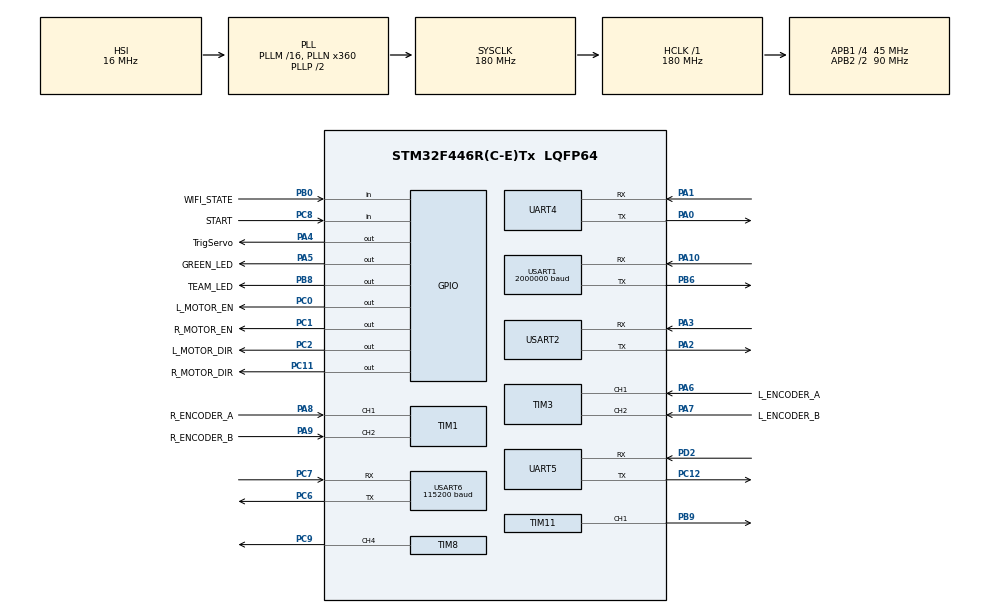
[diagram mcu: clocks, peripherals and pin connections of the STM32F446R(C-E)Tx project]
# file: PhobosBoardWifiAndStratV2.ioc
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Dma.Request0=UART4_RX
Dma.UART4_RX.0.Direction=DMA_PERIPH_TO_MEMORY
Dma.UART4_RX.0.FIFOMode=DMA_FIFOMODE_DISABLE
Dma.UART4_RX.0.Instance=DMA1_Stream2
Dma.UART4_RX.0.MemDataAlignment=DMA_MDATAALIGN_BYTE
Dma.UART4_RX.0.MemInc=DMA_MINC_ENABLE
Dma.UART4_RX.0.Mode=DMA_NORMAL
Dma.UART4_RX.0.PeriphDataAlignment=DMA_PDATAALIGN_BYTE
Dma.UART4_RX.0.PeriphInc=DMA_PINC_DISABLE
Dma.UART4_RX.0.Priority=DMA_PRIORITY_LOW
Mcu.Family=STM32F4
Mcu.Name=STM32F446R(C-E)Tx
Mcu.Package=LQFP64
NVIC.DMA1_Stream2_IRQn=true\:0\:0\:false\:false\:true\:false\:true\:true
NVIC.PriorityGroup=NVIC_PRIORITYGROUP_4
NVIC.TIM1_BRK_TIM9_IRQn=true\:0\:0\:false\:false\:true\:true\:true\:true
NVIC.TIM2_IRQn=true\:0\:0\:false\:false\:true\:true\:true\:true
NVIC.TIM4_IRQn=true\:0\:0\:false\:false\:true\:true\:true\:true
NVIC.TIM5_IRQn=true\:0\:0\:false\:false\:true\:true\:true\:true
NVIC.TIM6_DAC_IRQn=true\:0\:0\:false\:false\:true\:true\:true\:true
NVIC.TIM7_IRQn=true\:2\:0\:true\:false\:true\:true\:true\:true
NVIC.UART4_IRQn=true\:0\:0\:false\:false\:true\:true\:true\:true
NVIC.UART5_IRQn=true\:0\:0\:false\:false\:true\:true\:true\:true
NVIC.USART1_IRQn=true\:0\:0\:false\:false\:true\:true\:true\:true
NVIC.USART6_IRQn=true\:0\:0\:false\:false\:true\:true\:true\:true
PA0-WKUP.Mode=Asynchronous
PA0-WKUP.Signal=UART4_TX
PA1.Mode=Asynchronous
PA1.Signal=UART4_RX
PA10.Mode=Asynchronous
PA10.Signal=USART1_RX
PA2.Mode=Asynchronous
PA2.Signal=USART2_TX
PA3.Mode=Asynchronous
PA3.Signal=USART2_RX
PA4.GPIO_Label=TrigServo
PA4.Signal=GPIO_Output
PA5.GPIO_Label=GREEN_LED
PA5.Signal=GPIO_Output
PA6.GPIO_Label=L_ENCODER_A
PA6.Signal=S_TIM3_CH1
PA7.GPIO_Label=L_ENCODER_B
PA7.Signal=S_TIM3_CH2
PA8.GPIO_Label=R_ENCODER_A
PA8.Signal=S_TIM1_CH1
PA9.GPIO_Label=R_ENCODER_B
PA9.Signal=S_TIM1_CH2
PB0.GPIO_Label=WIFI_STATE
PB0.Signal=GPIO_Input
PB6.Mode=Asynchronous
PB6.Signal=USART1_TX
PB8.GPIO_Label=TEAM_LED
PB8.Signal=GPIO_Output
PB9.Signal=S_TIM11_CH1
PC0.GPIO_Label=L_MOTOR_EN
PC0.Signal=GPIO_Output
PC1.GPIO_Label=R_MOTOR_EN
PC1.Signal=GPIO_Output
PC11.GPIO_Label=R_MOTOR_DIR
PC11.Signal=GPIO_Output
PC12.Mode=Asynchronous
PC12.Signal=UART5_TX
PC2.GPIO_Label=L_MOTOR_DIR
PC2.Signal=GPIO_Output
PC6.Mode=Asynchronous
PC6.Signal=USART6_TX
PC7.Mode=Asynchronous
PC7.Signal=USART6_RX
PC8.GPIO_Label=START
PC8.GPIO_PuPd=GPIO_PULLDOWN
PC8.Signal=GPIO_Input
PC9.Signal=S_TIM8_CH4
PD2.Mode=Asynchronous
PD2.Signal=UART5_RX
ProjectManager.HeapSize=0x200
ProjectManager.StackSize=0x400
ProjectManager.TargetToolchain=STM32CubeIDE
RCC.48MHZClocksFreq_Value=84000000
RCC.AHBFreq_Value=180000000
RCC.APB1CLKDivider=RCC_HCLK_DIV4
RCC.APB1Freq_Value=45000000
RCC.APB1TimFreq_Value=90000000
RCC.APB2CLKDivider=RCC_HCLK_DIV2
RCC.APB2Freq_Value=90000000
RCC.APB2TimFreq_Value=180000000
RCC.CortexFreq_Value=180000000
RCC.FLatency-AdvancedSettings=FLASH_LATENCY_5
RCC.HCLKFreq_Value=180000000
RCC.HSE_VALUE=8000000
RCC.HSI_VALUE=16000000
RCC.PLLN=360
RCC.SYSCLKFreq_VALUE=180000000
RCC.SYSCLKSource=RCC_SYSCLKSOURCE_PLLCLK
RCC.USBFreq_Value=180000000
RCC.VCOOutputFreq_Value=360000000
SH.S_TIM11_CH1.0=TIM11_CH1,PWM Generation1 CH1
SH.S_TIM1_CH1.0=TIM1_CH1,Encoder_Interface
SH.S_TIM1_CH2.0=TIM1_CH2,Encoder_Interface
SH.S_TIM3_CH1.0=TIM3_CH1,Encoder_Interface
SH.S_TIM3_CH2.0=TIM3_CH2,Encoder_Interface
SH.S_TIM8_CH4.0=TIM8_CH4,PWM Generation4 CH4
TIM1.CounterMode=TIM_COUNTERMODE_UP
TIM1.EncoderMode=TIM_ENCODERMODE_TI12
TIM1.IC1Filter=10
TIM11.Channel=TIM_CHANNEL_1
TIM11.Period=1000
TIM11.Prescaler=179
TIM2.Period=999
TIM2.Prescaler=2686
TIM3.AutoReloadPreload=TIM_AUTORELOAD_PRELOAD_ENABLE
TIM3.CounterMode=TIM_COUNTERMODE_UP
TIM3.EncoderMode=TIM_ENCODERMODE_TI12
TIM4.Period=10000-1
TIM4.Prescaler=9000-1
TIM5.Period=90000
TIM5.Prescaler=9
TIM6.Period=99
TIM6.Prescaler=8999
TIM7.AutoReloadPreload=TIM_AUTORELOAD_PRELOAD_DISABLE
TIM7.Period=9999
TIM7.Prescaler=8999
TIM8.AutoReloadPreload=TIM_AUTORELOAD_PRELOAD_DISABLE
TIM8.Channel-PWM\ Generation4\ CH4=TIM_CHANNEL_4
TIM8.Period=1000
TIM8.Prescaler=179
TIM8.Pulse-PWM\ Generation4\ CH4=500
UART4.VirtualMode=Asynchronous
UART5.VirtualMode=Asynchronous
USART1.BaudRate=2000000
USART1.VirtualMode=VM_ASYNC
USART2.VirtualMode=VM_ASYNC
USART6.BaudRate=115200
USART6.Parity=PARITY_NONE
USART6.VirtualMode=VM_ASYNC
VP_TIM11_VS_ClockSourceINT.Mode=Enable_Timer
VP_TIM2_VS_ClockSourceINT.Mode=Internal
VP_TIM4_VS_ClockSourceINT.Mode=Internal
VP_TIM5_VS_ClockSourceINT.Mode=Internal
VP_TIM6_VS_ClockSourceINT.Mode=Enable_Timer
VP_TIM7_VS_ClockSourceINT.Mode=Enable_Timer
VP_TIM8_VS_ClockSourceINT.Mode=Internal
board=NUCLEO-F446RE

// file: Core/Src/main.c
/* USER CODE BEGIN Header */
/**
  ******************************************************************************
  * @file           : main.c
  * @brief          : Main program body
  ******************************************************************************
  * @attention
  *
  * <h2><center>&copy; Copyright (c) 2021 STMicroelectronics.
  * All rights reserved.</center></h2>
  *
  * This software component is licensed by ST under BSD 3-Clause license,
  * the "License"; You may not use this file except in compliance with the
  * License. You may obtain a copy of the License at:
  *                        opensource.org/licenses/BSD-3-Clause
  *
  ******************************************************************************
  */
/* USER CODE END Header */
#include "main.h"
#include "dma.h"
#include "tim.h"
#include "usart.h"
#include "gpio.h"

/* USER CODE BEGIN Includes */
#include "config.h"
#include "propulsion.h"
#include "odometry.h"
#include "robot.h"
#include "bezier.h"
#include "strategy.h"
#include "serial.h"
#include "lidar.h"
#include "avoidance.h"
#include "symetry.h"
#include <stdio.h>
#include <stdlib.h>
#include <math.h>

extern Robot robot;
/* USER CODE END Includes */

void SystemClock_Config(void);

/* USER CODE BEGIN 0 */

int _write(int file, char *ptr, int len) {
	int DataIdx;
	static int anti_spam=0;
	if(anti_spam<500&&globalUSARTchange==1){
		for (DataIdx = 0; DataIdx < len; DataIdx++) {
				HAL_UART_Transmit(&huart2, (uint8_t *) ptr++, 1, HAL_MAX_DELAY);
		}
		anti_spam++;
	}
	else if(anti_spam<=1000&&globalUSARTchange==1){
		for (DataIdx = 0; DataIdx < len; DataIdx++) {
				HAL_UART_Transmit(&huart1, (uint8_t *) ptr++, 1, HAL_MAX_DELAY);
		}
		anti_spam=0;;
	}
	else if(globalUSARTchange==0){
		for (DataIdx = 0; DataIdx < len; DataIdx++) {
			HAL_UART_Transmit(&huart2, (uint8_t *) ptr++, 1, HAL_MAX_DELAY);
		}
	}
	return len;
}

/* USER CODE END 0 */

int main(void)
{

  /* MCU Configuration--------------------------------------------------------*/

  /* Reset of all peripherals, Initializes the Flash interface and the Systick. */
  HAL_Init();

  /* Configure the system clock */
  SystemClock_Config();

  /* Initialize all configured peripherals */
  MX_GPIO_Init();
  MX_DMA_Init();
  MX_TIM1_Init();
  MX_TIM8_Init();
  MX_TIM11_Init();
  MX_TIM3_Init();
  MX_TIM7_Init();
  MX_TIM2_Init();
  MX_TIM6_Init();
  MX_TIM4_Init();
  MX_USART2_UART_Init();
  MX_TIM5_Init();
  MX_USART6_UART_Init();
  MX_UART4_Init();
  MX_UART5_Init();
  MX_USART1_UART_Init();
  /* USER CODE BEGIN 2 */
  HAL_TIM_Base_Start(&htim1);
  HAL_TIM_Base_Start(&htim3);
  HAL_TIM_Base_Start_IT(&htim5);
  HAL_TIM_Base_Start_IT(&htim4);

  HAL_UART_Receive_IT(&huart1, &wifiDataRX, 1);
  HAL_UART_Receive_IT(&huart5, &F303_Data, 1);
  HAL_UART_Receive_IT(&huart6, pData, 1);

/*
  while(HAL_GPIO_ReadPin(WIFI_GPIO_Port, WIFI_Pin)==0){
  }*/

  //WifiUartTXActivation();

  //HAL_GPIO_TogglePin(GREEN_LED_GPIO_Port, GREEN_LED_Pin);
  printf("Initializing propulsion system...");
  propulsion_initialize();
  propulsion_disableMotors();
  avoidance_initialize();
  HAL_Delay(200);
  printf(" Done.\r\n");

  //HAL_GPIO_TogglePin(GREEN_LED_GPIO_Port, GREEN_LED_Pin);

  robot.waitingForOnSiteAction = false;
  robot.waitingForOnMoveAction = false;
  robot.team = GREEN;
  float t = 0;

  HAL_Delay(200);
  printf(" Done.\r\n");

  //HAL_GPIO_TogglePin(GREEN_LED_GPIO_Port, GREEN_LED_Pin);
  Strategy* strategy;
  int curveIndex = 0;
  int onSiteActionIndex = 0;
  int onMoveActionIndex = 0;

  //HAL_GPIO_TogglePin(GREEN_LED_GPIO_Port, GREEN_LED_Pin);
  printf("Initializing lidar...");
  lidar_initialize();
  HAL_Delay(200);
  printf(" Done.\r\n");

  bool waitingForMatchStart = true;
  printf("Waiting for start...\r\n");
  pData[0] = 'o';
  int a = 0;
  while ((waitingForMatchStart == true)) {
	  waitingForMatchStart = HAL_GPIO_ReadPin(START_GPIO_Port, START_Pin);
	  if(wifiDataRX==0x84){
		  waitingForMatchStart=0;
		  strategy = strategy_initialize(7);
		  //WifiUartTXActivation();
	  }
	  else if((pData[0] >= '0' && pData[0] <= '9')  && a == 0)
	  {
		  a = 1;
	  	  switch(pData[0])
	      	{
	  	  	case '0':
	  	  		printf("Initializing strategy...0");
	  	  		strategy = strategy_initialize(0);
	       	    break;
	      	case '1':
	      		printf("Initializing strategy...1");
	      		strategy = strategy_initialize(1);
	            break;
	      	case '2':
	      		printf("Initializing strategy...2");
	      		strategy = strategy_initialize(2);
	      		break;
	        case '3':
	        	printf("Initializing strategy...3");
	        	strategy = strategy_initialize(3);
	        	break;
	        case '4':
	        	printf("Initializing strategy...4");
	        	strategy = strategy_initialize(4);
	        	break;
	        case '5':
	        	printf("Initializing strategy...5");
	        	strategy = strategy_initialize(5);
	        	switchTeam(strategy);
	            break;
	        case '6':
	        	printf("Initializing strategy...6");
	        	strategy = strategy_initialize(6);
	        	switchTeam(strategy);
	        	break;
	        case '7':
	        	printf("Initializing strategy...7");
	        	strategy = strategy_initialize(7);
	        	switchTeam(strategy);
	            break;
	        case '8':
	        	printf("Initializing strategy...8");
	        	strategy = strategy_initialize(8);
	        	switchTeam(strategy);
	        	break;
	        case '9':
	        	printf("Initializing strategy...9");
	        	strategy = strategy_initialize(9);
	        	switchTeam(strategy);
	        	break;
	        default:
	            break;
	      	}
	  }

	  /*if (HAL_GPIO_ReadPin(TEAM_BUTTON_GPIO_Port, TEAM_BUTTON_Pin) && !teamButtonVal) {
		  switchTeam(strategy);
	  }

	  HAL_GPIO_WritePin(TEAM_LED_GPIO_Port, TEAM_LED_Pin, robot.team == BLUE);
	  teamButtonVal = HAL_GPIO_ReadPin(TEAM_BUTTON_GPIO_Port, TEAM_BUTTON_Pin);*/

	  //HAL_Delay(50);
	  //printf("%d\r\n", teamButtonVal);
	  //HAL_GPIO_WritePin(GREEN_LED_GPIO_Port, GREEN_LED_Pin, teamButtonVal);
  }
  WifiUartTXActivation();
  propulsion_enableMotors();
  printf("Initializing odometry...");
  Vector2 start = strategy->path[0]->p1;
  Vector2 startTangent = strategy->path[0]->p2;
  float startAngle = vector2_angle(vector2_diff(startTangent, start));
  odometry_setPosition(start.x, start.y);
  odometry_setAngle(startAngle);
  robot.measuredSpeed = 0;
  HAL_Delay(200);
  printf(" Done.\r\n");

  printf("Go!\r\n");
  HAL_UART_Transmit(&huart6, "1034", 4, 1);
  HAL_UART_Receive_DMA(&huart4, &lidarBuf[0], 3);
  //odometry_setPosition(0, 0);
  //odometry_setAngle(0);

  /* USER CODE END 2 */

  /* Infinite loop */
  /* USER CODE BEGIN WHILE */

  /*while (1) {
	  for (int i=0; i<16; i++) {
		  printf("%d ", i);
		  printf("(%d) ", lidar_timeSinceData[i]);
	  }
	  printf("\r\n");

	  if (!lidar_frontIsClear()) {
		  printf("Front stop!\r\n");
	  }
	  if (!lidar_backIsClear()) {
		  printf("Back stop!\r\n");
	  }

	  HAL_Delay(100);
  }*/

  while (onSiteActionIndex < strategy->onSiteActionsLengths[0]) {
	  /*uint8_t action = strategy->onSiteActions[0][onSiteActionIndex];
	  serial_send(&action, 1, 6);*/
	  //HAL_UART_Transmit(&huart6, strategy->onSiteActions[0], 4, 1);
	  robot.waitingForOnSiteAction = true;

	  printf("Waiting for 0xFF...\r\n");
	  printf("%d\r\n", robot.waitingForOnSiteAction);
	  while (robot.waitingForOnSiteAction) {}
	  printf("%d\r\n", robot.waitingForOnSiteAction);
	  onSiteActionIndex++;
  }

  printf("About to move...\r\n");
  while (1) {
	  if (onMoveActionIndex < strategy->onMoveActionsLengths[curveIndex]
              && !robot.waitingForOnMoveAction
			  && !robot.waitingForOnSiteAction) {
		  robot.waitingForOnMoveAction = true;
	  }

	  avoidance_update(t, strategy->directions[curveIndex]);

	  if (avoidanceState == PATH_CLEAR && curveIndex < strategy->length) {
		  t = propulsion_followBezier(
				  strategy->path[curveIndex],
				  strategy->directions[curveIndex],
				  strategy->speeds[curveIndex],
				  strategy->speeds[curveIndex+1],
				  false
		  );
	  } else if (avoidanceState == PATH_OBSTRUCTED) {
		  propulsion_setSpeeds(0, 0);
	  } else if (avoidanceState == BACKTRACKING) {
		  t = propulsion_followBezier(
				  strategy->path[curveIndex],
				  strategy->directions[curveIndex],
				  strategy->speeds[curveIndex],
				  strategy->speeds[curveIndex+1],
				  true
		  );
	  }

	  if (t > 0.99 && !robot.waitingForOnMoveAction) {
	      curveIndex = (curveIndex + 1);// % strategy->length;
	      onSiteActionIndex = 0;
	      while (onSiteActionIndex < strategy->onSiteActionsLengths[curveIndex]) {
	    	  uint8_t action = strategy->onSiteActions[curveIndex][onSiteActionIndex];
	    	  serial_send(&action, 1, 6);
	    	  robot.waitingForOnSiteAction = true;

	    	  while (robot.waitingForOnSiteAction) {
	    		  propulsion_setSpeeds(0, 0);
	    		  HAL_Delay(2000);
	    		  robot.waitingForOnSiteAction = false;
	    	  }
	    	  onSiteActionIndex++;
	      }
	      onMoveActionIndex = 0;
	  }

	  if (curveIndex == strategy->length) {
		  break;
	  }

    /* USER CODE END WHILE */

    /* USER CODE BEGIN 3 */
  }
  propulsion_disableMotors();
  HAL_GPIO_WritePin(TrigServo_GPIO_Port, TrigServo_Pin, 1);
  printf("Finished.\r\n");

  while (1) {

  }
  /* USER CODE END 3 */
}

void SystemClock_Config(void)
{
  RCC_OscInitTypeDef RCC_OscInitStruct = {0};
  RCC_ClkInitTypeDef RCC_ClkInitStruct = {0};

  /** Configure the main internal regulator output voltage
  */
  __HAL_RCC_PWR_CLK_ENABLE();
  __HAL_PWR_VOLTAGESCALING_CONFIG(PWR_REGULATOR_VOLTAGE_SCALE1);

  /** Initializes the RCC Oscillators according to the specified parameters
  * in the RCC_OscInitTypeDef structure.
  */
  RCC_OscInitStruct.OscillatorType = RCC_OSCILLATORTYPE_HSI;
  RCC_OscInitStruct.HSIState = RCC_HSI_ON;
  RCC_OscInitStruct.HSICalibrationValue = RCC_HSICALIBRATION_DEFAULT;
  RCC_OscInitStruct.PLL.PLLState = RCC_PLL_ON;
  RCC_OscInitStruct.PLL.PLLSource = RCC_PLLSOURCE_HSI;
  RCC_OscInitStruct.PLL.PLLM = 16;
  RCC_OscInitStruct.PLL.PLLN = 360;
  RCC_OscInitStruct.PLL.PLLP = RCC_PLLP_DIV2;
  RCC_OscInitStruct.PLL.PLLQ = 2;
  RCC_OscInitStruct.PLL.PLLR = 2;
  if (HAL_RCC_OscConfig(&RCC_OscInitStruct) != HAL_OK)
  {
    Error_Handler();
  }

  /** Activate the Over-Drive mode
  */
  if (HAL_PWREx_EnableOverDrive() != HAL_OK)
  {
    Error_Handler();
  }

  /** Initializes the CPU, AHB and APB buses clocks
  */
  RCC_ClkInitStruct.ClockType = RCC_CLOCKTYPE_HCLK|RCC_CLOCKTYPE_SYSCLK
                              |RCC_CLOCKTYPE_PCLK1|RCC_CLOCKTYPE_PCLK2;
  RCC_ClkInitStruct.SYSCLKSource = RCC_SYSCLKSOURCE_PLLCLK;
  RCC_ClkInitStruct.AHBCLKDivider = RCC_SYSCLK_DIV1;
  RCC_ClkInitStruct.APB1CLKDivider = RCC_HCLK_DIV4;
  RCC_ClkInitStruct.APB2CLKDivider = RCC_HCLK_DIV2;

  if (HAL_RCC_ClockConfig(&RCC_ClkInitStruct, FLASH_LATENCY_5) != HAL_OK)
  {
    Error_Handler();
  }
}

void Error_Handler(void)
{
  /* USER CODE BEGIN Error_Handler_Debug */
  /* User can add his own implementation to report the HAL error return state */
  __disable_irq();
  printf("A runtime error occurred.\r\n");
  while (1) {
  }
  /* USER CODE END Error_Handler_Debug */
}
